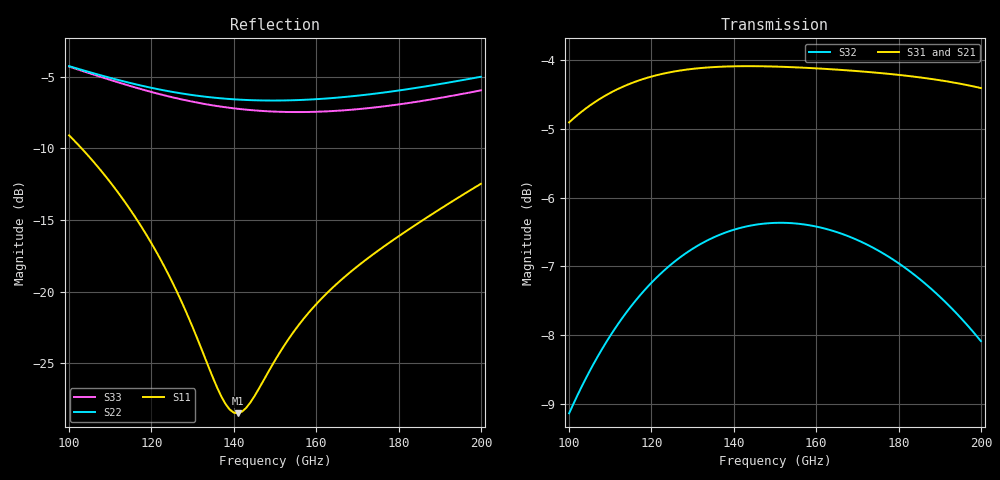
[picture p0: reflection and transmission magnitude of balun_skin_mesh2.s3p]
! Created with skrf 2.1.0 (http://scikit-rf.org).
# GHz S DB R 50.0
! Port[1] = P1
! Port[2] = P2
! Port[3] = P3
!freq dBS11 angS11 dBS12 angS12 dBS13 angS13
! dBS21 angS21 dBS22 angS22 dBS23 angS23
! dBS31 angS31 dBS32 angS32 dBS33 angS33
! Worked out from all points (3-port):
!   101 points, 100 GHz to 200 GHz, reference 50 ohm
!   strongest paths, dB at 100 GHz, 125 GHz, 150 GHz, 175 GHz, 200 GHz:
!     S31: -4.9, -4.2, -4.1, -4.2, -4.4
!     S21: -4.6, -4.1, -4.1, -4.4, -4.9
!     S32: -9.1, -7.0, -6.4, -6.8, -8.1
!   lowest |S11| = -28.5 dB at 141 GHz (marker M1), VSWR 1.08, Z = 46.4 + j0.63 ohm
!   |S11| at or under -10 dB: 103 GHz to end of sweep
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100  -9.11 129.8  -4.64 -12.9  -4.91 163.4
     -4.64 -12.9  -4.28 59.6  -9.13 90.4
     -4.91 163.4  -9.13 90.4  -4.31 49.0
119  -16.15 112.0  -4.11 -41.9  -4.26 132.4
     -4.11 -41.9  -5.73 43.1  -7.30 61.6
     -4.26 132.4  -7.30 61.6  -6.00 29.5
127  -20.52 113.0  -4.04 -53.1  -4.16 120.4
     -4.04 -53.1  -6.17 37.1  -6.87 50.3
     -4.16 120.4  -6.87 50.3  -6.58 22.6
137  -27.34 141.8  -4.04 -66.3  -4.10 106.3
     -4.04 -66.3  -6.52 30.0  -6.53 36.9
     -4.10 106.3  -6.53 36.9  -7.11 14.7
141  -28.49 169.6  -4.06 -71.4  -4.09 100.9
     -4.06 -71.4  -6.61 27.2  -6.45 31.8
     -4.09 100.9  -6.45 31.8  -7.25 11.6
150  -24.80 -148.6  -4.11 -82.5  -4.10 89.0
     -4.11 -82.5  -6.68 20.8  -6.37 20.5
     -4.10 89.0  -6.37 20.5  -7.45 4.9
158  -21.54 -138.4  -4.18 -92.2  -4.12 78.7
     -4.18 -92.2  -6.61 14.8  -6.40 10.7
     -4.12 78.7  -6.40 10.7  -7.47 -1.1
167  -18.96 -134.7  -4.28 -102.9  -4.15 67.3
     -4.28 -102.9  -6.42 7.7  -6.54 0.0
     -4.15 67.3  -6.54 0.0  -7.35 -8.1
185  -15.19 -134.5  -4.53 -124.2  -4.25 44.8
     -4.53 -124.2  -5.76 -7.7  -7.18 -21.0
     -4.25 44.8  -7.18 -21.0  -6.74 -23.1
200  -12.48 -139.3  -4.86 -142.3  -4.41 25.7
     -4.86 -142.3  -5.02 -21.9  -8.09 -38.6
     -4.41 25.7  -8.09 -38.6  -5.96 -36.6
